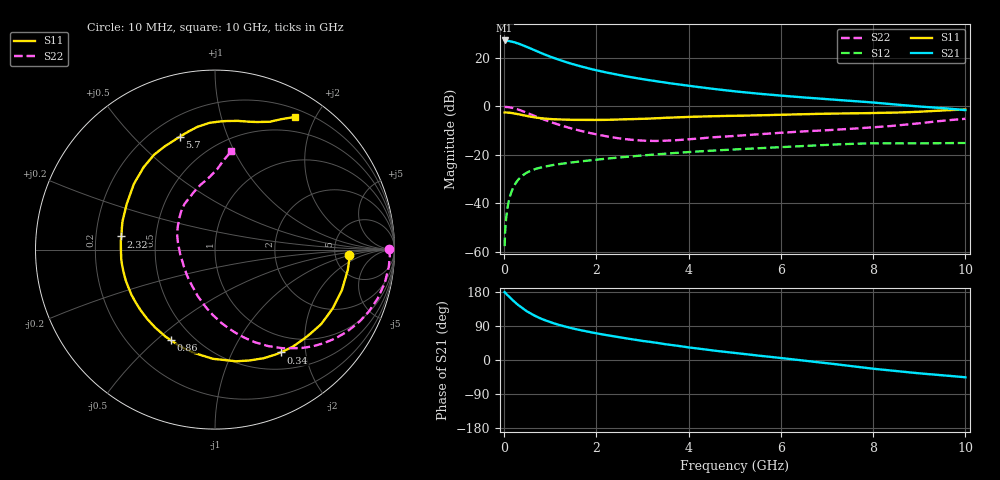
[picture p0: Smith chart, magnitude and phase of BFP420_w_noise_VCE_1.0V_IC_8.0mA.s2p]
! Infineon Technologies  Discrete & RF Semiconductors
! BFP420
! VCE =  1.0 V,  IC =  8.0 mA
! Common Emitter S-Parameters:  Jan 2016
# GHz  S  MA  R  50
!  f  S11  S21  S12  S22
! GHz  MAG  ANG  MAG  ANG  MAG  ANG  MAG  ANG
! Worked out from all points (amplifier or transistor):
!   233 points, 10 MHz to 10 GHz, reference 50 ohm
!   highest |S21| = 27.2 dB at 10 MHz (marker M1)
!   |S21| within 3 dB of that: start of sweep to 531.3 MHz
!   unconditionally stable (mu >= 1): 2.489 GHz to end of sweep
!   at 200 MHz: K = 0.11, MSG = 30.0 dB, |S12| = -33.4 dB
!   at 1.74 GHz: K = 0.78, MSG = 19.3 dB, |S12| = -22.5 dB
!   at 10 GHz: K = 1.09, MAG = 5.0 dB, |S12| = -15.1 dB
!   lowest NFmin = 0.79 dB at 900 MHz
!   S11 on the Smith chart (normalised r, x): 10 MHz: 6.82, -0.93; 340 MHz: 0.74, -1.57; 860 MHz: 0.38, -0.56; 2.32 GHz: 0.31, +0.06; 5.7 GHz: 0.31, +0.69; 10 GHz: 0.30, +1.73
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0.01  0.7484 -2.3  22.94 179.3  0.0013 102.0  0.9676 0.3
0.02  0.7504 -3.6  22.45 177.8  0.0025 89.5  0.9749 -2.1
0.1  0.7422 -17.8  22.37 167.9  0.0111 81.3  0.9636 -11.3
0.19  0.7235 -33.4  21.49 157.4  0.0204 73.9  0.9271 -21.0
0.28  0.6966 -48.1  20.21 147.6  0.0285 67.2  0.8766 -30.0
0.34  0.6802 -57.4  19.32 141.8  0.0332 63.2  0.8383 -35.7
0.45  0.6467 -72.8  17.55 131.9  0.0405 57.0  0.7651 -44.8
0.6  0.6084 -91.2  15.23 120.7  0.0479 50.4  0.6692 -55.3
0.7  0.587 -101.8  13.86 114.5  0.0518 47.2  0.6124 -61.3
0.86  0.5614 -116.2  11.97 106.2  0.0566 43.2  0.5348 -69.5
1  0.5477 -127.3  10.62 99.7  0.0602 40.7  0.4782 -76.1
1.2  0.535 -140.6  9.073 92.2  0.0645 38.0  0.4131 -84.6
1.42  0.5283 -152.7  7.776 85.2  0.0687 36.0  0.3584 -92.9
1.68  0.525 -164.7  6.621 78.1  0.0735 34.2  0.3087 -102.2
2.32  0.528 172.0  4.784 63.6  0.0851 30.7  0.2316 -125.6
2.8  0.5445 157.9  3.924 54.1  0.0935 28.1  0.2028 -145.2
3.4  0.574 143.3  3.191 43.6  0.1039 24.5  0.1941 -169.6
5.1  0.6409 115.0  1.998 17.2  0.1307 13.1  0.2488 145.6
5.7  0.6586 107.4  1.763 9.2  0.1393 9.1  0.272 135.8
6.8  0.6997 94.7  1.456 -5.7  0.1569 0.6  0.3147 119.3
8.4  0.7393 74.4  1.109 -28.2  0.1726 -15.4  0.3943 96.4
10  0.8623 58.9  0.837 -45.6  0.1754 -26.2  0.5544 80.7
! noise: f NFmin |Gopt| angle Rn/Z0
0.9  0.79  0.08  30  0.13
1.8  1.14  0.06  171  0.12
2.4  1.24  0.1  160  0.13
3  1.32  0.17  -165  0.12
4  1.46  0.32  -132  0.14
5  1.85  0.39  -110  0.25
6  2.3  0.46  -95  0.37
